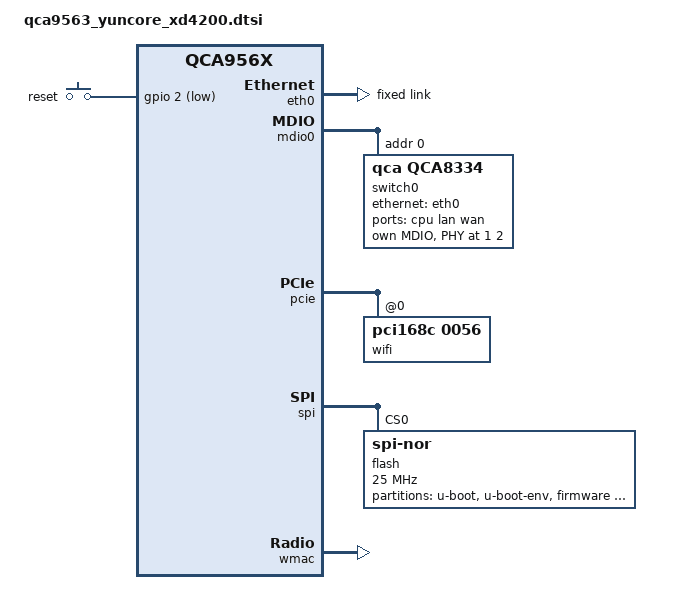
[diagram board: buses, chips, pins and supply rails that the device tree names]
// SPDX-License-Identifier: GPL-2.0-or-later OR MIT

#include "qca956x.dtsi"

#include <dt-bindings/gpio/gpio.h>
#include <dt-bindings/input/input.h>

/ {
	aliases {
		label-mac-device = &eth0;
	};

	keys {
		compatible = "gpio-keys";

		reset {
			linux,code = <KEY_RESTART>;
			gpios = <&gpio 2 GPIO_ACTIVE_LOW>;
			debounce-interval = <60>;
		};
	};
};

&eth0 {
	status = "okay";

	pll-data = <0x03000101 0x00000101 0x00001919>;

	nvmem-cells = <&macaddr_art_0>;
	nvmem-cell-names = "mac-address";

	fixed-link {
		speed = <1000>;
		full-duplex;
	};
};

&mdio0 {
	status = "okay";

	phy-mask = <0>;

	switch0@10 {
		compatible = "qca,qca8334";
		#address-cells = <1>;
		#size-cells = <0>;

		reg = <0>;
		qca,ignore-power-on-sel;
		qca,led-open-drain;

		ports {
			#address-cells = <1>;
			#size-cells = <0>;

			port@0 {
				reg = <0>;
				label = "cpu";
				ethernet = <&eth0>;
				phy-mode = "sgmii";
				qca,sgmii-rxclk-falling-edge;

				fixed-link {
					speed = <1000>;
					full-duplex;
				};
			};

			port@2 {
				reg = <2>;
				label = "lan";
				phy-mode = "internal";
				phy-handle = <&phy_port2>;
			};

			port@3 {
				reg = <3>;
				label = "wan";
				phy-mode = "internal";
				phy-handle = <&phy_port3>;
			};
		};

		mdio {
			#address-cells = <1>;
			#size-cells = <0>;

			phy_port2: phy@1 {
				reg = <1>;
			};

			phy_port3: phy@2 {
				reg = <2>;
			};
		};
	};
};

&pcie {
	status = "okay";

	wifi@0,0 {
		compatible = "pci168c,0056";
		reg = <0x0000 0 0 0 0>;
	};
};

&spi {
	status = "okay";

	flash@0 {
		compatible = "jedec,spi-nor";
		reg = <0>;
		spi-max-frequency = <25000000>;

		partitions {
			compatible = "fixed-partitions";
			#address-cells = <1>;
			#size-cells = <1>;

			partition@0 {
				label = "u-boot";
				reg = <0x000000 0x040000>;
				read-only;
			};

			partition@40000 {
				label = "u-boot-env";
				reg = <0x040000 0x010000>;
			};

			partition@50000 {
				compatible = "denx,uimage";
				label = "firmware";
				reg = <0x050000 0xfa0000>;
			};

			art: partition@ff0000 {
				label = "art";
				reg = <0xff0000 0x010000>;
				read-only;
			};
		};
	};
};

&wmac {
	status = "okay";

	mtd-cal-data = <&art 0x1000>;
};

&art {
	compatible = "nvmem-cells";
	#address-cells = <1>;
	#size-cells = <1>;

	macaddr_art_0: macaddr@0 {
		reg = <0x0 0x6>;
	};
};
